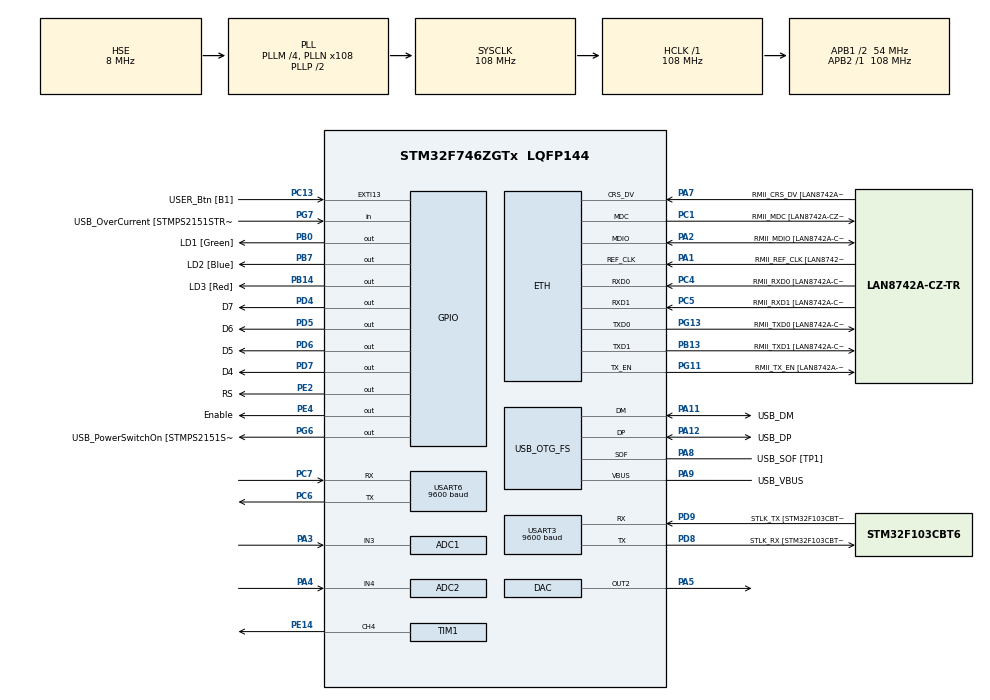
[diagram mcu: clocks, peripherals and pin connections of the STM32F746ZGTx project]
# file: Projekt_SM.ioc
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ADC1.Channel-0\#ChannelRegularConversion=ADC_CHANNEL_3
ADC1.ClockPrescaler=ADC_CLOCK_SYNC_PCLK_DIV4
ADC1.ContinuousConvMode=DISABLE
ADC1.DMAContinuousRequests=ENABLE
ADC1.ExternalTrigConv=ADC_EXTERNALTRIGCONV_T5_TRGO
ADC1.InjNumberOfConversion=0
ADC1.NbrOfConversion=1
ADC1.NbrOfConversionFlag=1
ADC1.Rank-0\#ChannelRegularConversion=1
ADC1.SamplingTime-0\#ChannelRegularConversion=ADC_SAMPLETIME_480CYCLES
ADC1.ScanConvMode=ADC_SCAN_ENABLE
ADC1.master=1
ADC2.Channel-2\#ChannelRegularConversion=ADC_CHANNEL_4
ADC2.ClockPrescaler=ADC_CLOCK_SYNC_PCLK_DIV4
ADC2.ContinuousConvMode=DISABLE
ADC2.DMAContinuousRequests=ENABLE
ADC2.ExternalTrigConv=ADC_EXTERNALTRIGCONV_T6_TRGO
ADC2.NbrOfConversion=1
ADC2.NbrOfConversionFlag=1
ADC2.Rank-2\#ChannelRegularConversion=1
ADC2.SamplingTime-2\#ChannelRegularConversion=ADC_SAMPLETIME_480CYCLES
ADC2.ScanConvMode=ADC_SCAN_ENABLE
DAC.DAC_Trigger2=DAC_TRIGGER_T4_TRGO
Dma.ADC1.0.Direction=DMA_PERIPH_TO_MEMORY
Dma.ADC1.0.FIFOMode=DMA_FIFOMODE_DISABLE
Dma.ADC1.0.Instance=DMA2_Stream0
Dma.ADC1.0.MemDataAlignment=DMA_MDATAALIGN_HALFWORD
Dma.ADC1.0.MemInc=DMA_MINC_ENABLE
Dma.ADC1.0.Mode=DMA_CIRCULAR
Dma.ADC1.0.PeriphDataAlignment=DMA_PDATAALIGN_HALFWORD
Dma.ADC1.0.PeriphInc=DMA_PINC_DISABLE
Dma.ADC1.0.Priority=DMA_PRIORITY_LOW
Dma.ADC2.1.Direction=DMA_PERIPH_TO_MEMORY
Dma.ADC2.1.FIFOMode=DMA_FIFOMODE_DISABLE
Dma.ADC2.1.Instance=DMA2_Stream2
Dma.ADC2.1.MemDataAlignment=DMA_MDATAALIGN_HALFWORD
Dma.ADC2.1.MemInc=DMA_MINC_ENABLE
Dma.ADC2.1.Mode=DMA_CIRCULAR
Dma.ADC2.1.PeriphDataAlignment=DMA_PDATAALIGN_HALFWORD
Dma.ADC2.1.PeriphInc=DMA_PINC_DISABLE
Dma.ADC2.1.Priority=DMA_PRIORITY_LOW
Dma.Request0=ADC1
Dma.Request1=ADC2
ETH.MediaInterface=ETH_MEDIA_INTERFACE_RMII
ETH.PHY_Name=LAN8742A_PHY_ADDRESS
ETH.PHY_Value=0
ETH.PhyAddress=0
Mcu.Family=STM32F7
Mcu.Name=STM32F746ZGTx
Mcu.Package=LQFP144
NVIC.DMA2_Stream0_IRQn=true\:0\:0\:false\:false\:true\:false\:true
NVIC.DMA2_Stream2_IRQn=true\:0\:0\:false\:false\:true\:false\:true
NVIC.PriorityGroup=NVIC_PRIORITYGROUP_4
NVIC.TIM2_IRQn=true\:0\:0\:false\:false\:true\:true\:true
NVIC.TIM3_IRQn=true\:0\:0\:false\:false\:true\:true\:true
NVIC.TIM4_IRQn=true\:0\:0\:false\:false\:true\:true\:true
NVIC.TIM5_IRQn=true\:0\:0\:false\:false\:true\:true\:true
NVIC.TIM6_DAC_IRQn=true\:0\:0\:false\:false\:true\:true\:true
NVIC.USART3_IRQn=true\:0\:0\:false\:false\:true\:true\:true
NVIC.USART6_IRQn=true\:0\:0\:false\:false\:true\:true\:true
PA1.GPIO_Label=RMII_REF_CLK [LAN8742A-CZ-TR_REFCLK0]
PA1.Mode=RMII
PA1.Signal=ETH_REF_CLK
PA10.GPIO_Label=USB_ID
PA10.Signal=USB_OTG_FS_ID
PA11.GPIO_Label=USB_DM
PA11.Mode=Device_Only
PA11.Signal=USB_OTG_FS_DM
PA12.GPIO_Label=USB_DP
PA12.Mode=Device_Only
PA12.Signal=USB_OTG_FS_DP
PA13.GPIO_Label=TMS
PA13.Mode=Serial_Wire
PA13.Signal=SYS_JTMS-SWDIO
PA14.GPIO_Label=TCK
PA14.Mode=Serial_Wire
PA14.Signal=SYS_JTCK-SWCLK
PA2.GPIO_Label=RMII_MDIO [LAN8742A-CZ-TR_MDIO]
PA2.Mode=RMII
PA2.Signal=ETH_MDIO
PA3.Signal=ADCx_IN3
PA4.Signal=ADCx_IN4
PA5.Signal=COMP_DAC2_group
PA7.GPIO_Label=RMII_CRS_DV [LAN8742A-CZ-TR_CRS_DV]
PA7.Mode=RMII
PA7.Signal=ETH_CRS_DV
PA8.GPIO_Label=USB_SOF [TP1]
PA8.Mode=Activate_SOF_FS
PA8.Signal=USB_OTG_FS_SOF
PA9.GPIO_Label=USB_VBUS
PA9.Mode=Activate_VBUS
PA9.Signal=USB_OTG_FS_VBUS
PB0.GPIO_Label=LD1 [Green]
PB0.Signal=GPIO_Output
PB13.GPIO_Label=RMII_TXD1 [LAN8742A-CZ-TR_TXD1]
PB13.Mode=RMII
PB13.Signal=ETH_TXD1
PB14.GPIO_Label=LD3 [Red]
PB14.Signal=GPIO_Output
PB3.GPIO_Label=SW0
PB3.Signal=SYS_JTDO-SWO
PB7.GPIO_Label=LD2 [Blue]
PB7.Signal=GPIO_Output
PC1.GPIO_Label=RMII_MDC [LAN8742A-CZ-TR_MDC]
PC1.Mode=RMII
PC1.Signal=ETH_MDC
PC13.GPIO_Label=USER_Btn [B1]
PC13.Signal=GPXTI13
PC14/OSC32_IN.Mode=LSE-External-Oscillator
PC14/OSC32_IN.Signal=RCC_OSC32_IN
PC15/OSC32_OUT.Mode=LSE-External-Oscillator
PC15/OSC32_OUT.Signal=RCC_OSC32_OUT
PC4.GPIO_Label=RMII_RXD0 [LAN8742A-CZ-TR_RXD0]
PC4.Mode=RMII
PC4.Signal=ETH_RXD0
PC5.GPIO_Label=RMII_RXD1 [LAN8742A-CZ-TR_RXD1]
PC5.Mode=RMII
PC5.Signal=ETH_RXD1
PC6.Mode=Asynchronous
PC6.Signal=USART6_TX
PC7.Mode=Asynchronous
PC7.Signal=USART6_RX
PD4.GPIO_Label=D7
PD4.Signal=GPIO_Output
PD5.GPIO_Label=D6
PD5.Signal=GPIO_Output
PD6.GPIO_Label=D5
PD6.Signal=GPIO_Output
PD7.GPIO_Label=D4
PD7.Signal=GPIO_Output
PD8.GPIO_Label=STLK_RX [STM32F103CBT6_PA3]
PD8.Mode=Asynchronous
PD8.Signal=USART3_TX
PD9.GPIO_Label=STLK_TX [STM32F103CBT6_PA2]
PD9.Mode=Asynchronous
PD9.Signal=USART3_RX
PE14.Signal=S_TIM1_CH4
PE2.GPIO_Label=RS
PE2.Signal=GPIO_Output
PE4.GPIO_Label=Enable
PE4.Signal=GPIO_Output
PG11.GPIO_Label=RMII_TX_EN [LAN8742A-CZ-TR_TXEN]
PG11.Mode=RMII
PG11.Signal=ETH_TX_EN
PG13.GPIO_Label=RMII_TXD0 [LAN8742A-CZ-TR_TXD0]
PG13.Mode=RMII
PG13.Signal=ETH_TXD0
PG6.GPIO_Label=USB_PowerSwitchOn [STMPS2151STR_EN]
PG6.Signal=GPIO_Output
PG7.GPIO_Label=USB_OverCurrent [STMPS2151STR_FAULT]
PG7.Signal=GPIO_Input
PH0/OSC_IN.GPIO_Label=MCO [STM32F103CBT6_PA8]
PH0/OSC_IN.Mode=HSE-External-Clock-Source
PH0/OSC_IN.Signal=RCC_OSC_IN
PH1/OSC_OUT.Mode=HSE-External-Clock-Source
PH1/OSC_OUT.Signal=RCC_OSC_OUT
ProjectManager.HeapSize=0x200
ProjectManager.StackSize=0x400
ProjectManager.TargetToolchain=STM32CubeIDE
RCC.48MHZClocksFreq_Value=24000000
RCC.AHBFreq_Value=108000000
RCC.APB1CLKDivider=RCC_HCLK_DIV2
RCC.APB1Freq_Value=54000000
RCC.APB1TimFreq_Value=108000000
RCC.APB2Freq_Value=108000000
RCC.APB2TimFreq_Value=108000000
RCC.CortexFreq_Value=108000000
RCC.HCLKFreq_Value=108000000
RCC.HSE_VALUE=8000000
RCC.HSI_VALUE=16000000
RCC.PLL48CLockSelection=RCC_CLK48SOURCE_PLLSAIP
RCC.PLLM=4
RCC.PLLMUL=RCC_PLL_MUL9
RCC.PLLN=108
RCC.PLLQ=3
RCC.PLLSAIN=96
RCC.PLLSAIP=RCC_PLLSAIP_DIV4
RCC.PRESCALERUSB=RCC_USBCLKSOURCE_PLL_DIV1_5
RCC.SYSCLKFreq_VALUE=108000000
RCC.SYSCLKSource=RCC_SYSCLKSOURCE_PLLCLK
RCC.SYSCLKSourceVirtual=RCC_SYSCLKSOURCE_PLLCLK
RCC.USBFreq_Value=48000000
RCC.VCOOutputFreq_Value=216000000
SH.ADCx_IN3.0=ADC1_IN3,IN3
SH.ADCx_IN4.0=ADC2_IN4,IN4
SH.COMP_DAC2_group.0=DAC_OUT2,DAC_OUT2
SH.S_TIM1_CH4.0=TIM1_CH4,PWM Generation4 CH4
TIM1.Channel-PWM\ Generation4\ CH4=TIM_CHANNEL_4
TIM1.Period=19999
TIM1.Prescaler=107
TIM1.Pulse-PWM\ Generation4\ CH4=1000
TIM2.Period=4999
TIM2.Prescaler=10799
TIM2.TIM_MasterOutputTrigger=TIM_TRGO_UPDATE
TIM3.Period=999
TIM3.Prescaler=10799
TIM4.Period=19
TIM4.Prescaler=107
TIM4.TIM_MasterOutputTrigger=TIM_TRGO_UPDATE
TIM5.Period=999
TIM5.Prescaler=10799
TIM5.TIM_MasterOutputTrigger=TIM_TRGO_UPDATE
TIM6.Period=99
TIM6.Prescaler=107
TIM6.TIM_MasterOutputTrigger=TIM_TRGO_UPDATE
USART3.BaudRate=9600
USART3.VirtualMode-Asynchronous=VM_ASYNC
USART6.BaudRate=9600
USART6.VirtualMode-Asynchronous=VM_ASYNC
USB_OTG_FS.VirtualMode=Device_Only
VP_TIM1_VS_ClockSourceINT.Mode=Internal
VP_TIM2_VS_ClockSourceINT.Mode=Internal
VP_TIM3_VS_ClockSourceINT.Mode=Internal
VP_TIM4_VS_ClockSourceINT.Mode=Internal
VP_TIM5_VS_ClockSourceINT.Mode=Internal
VP_TIM6_VS_ClockSourceINT.Mode=Enable_Timer
board=NUCLEO-F746ZG

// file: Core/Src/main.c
/* USER CODE BEGIN Header */
/**
  ******************************************************************************
  * @file           : main.c
  * @brief          : Main program body
  ******************************************************************************
  * @attention
  *
  * <h2><center>&copy; Copyright (c) 2020 STMicroelectronics.
  * All rights reserved.</center></h2>
  *
  * This software component is licensed by ST under BSD 3-Clause license,
  * the "License"; You may not use this file except in compliance with the
  * License. You may obtain a copy of the License at:
  *                        opensource.org/licenses/BSD-3-Clause
  *
  ******************************************************************************
  */
/* USER CODE END Header */

#include "main.h"
#include "adc.h"
#include "dac.h"
#include "dma.h"
#include "eth.h"
#include "tim.h"
#include "usart.h"
#include "usb_otg.h"
#include "gpio.h"

/* USER CODE BEGIN Includes */
#include "lcd.h"
#include "servo.h"
#include "math.h"
#include "arm_math.h"
/* USER CODE END Includes */

/* USER CODE BEGIN PV */

//Sinus voltage amplitude and its 100 samples
double A = 1.0;
uint16_t sine[] = {
#include "sinus.txt"
};
int i = 0;

//Potentiometer
uint32_t pot_value = 0;
uint32_t pot_read_from_DMA = 0;
uint32_t last_changed_pot = 0;

//Sensor
uint32_t sensor_RMS = 0;
const int BUFFER_SIZE = 1000;
uint32_t sensor_values_buffer[1000];
int current_sample = 0;
uint32_t sensor_read_from_DMA = 0;
int calculateRMS = 0;

//Variable used to handle lcd and servo with callback periods
int ifDisplay = 0;

//Initialize the lcd display
Lcd_PortType ports[] = {
	D4_GPIO_Port, D5_GPIO_Port, D6_GPIO_Port, D7_GPIO_Port
};
Lcd_PinType pins[] = {D4_Pin, D5_Pin, D6_Pin, D7_Pin};
//Handler for lcd
Lcd_HandleTypeDef my_lcd;

//Variables for the servo
int angle = 0;
int angle_correction = 0;
servo_t servo1;

//Variables for UART
#define MESSAGE_MAX_SIZE 3
char receivedMessage[MESSAGE_MAX_SIZE] = {0};
int ifUART = 0;
HAL_StatusTypeDef UART_status;
int setpoint_read_from_UART = 0;
#define T_MESSAGE_MAX_SIZE 10
uint8_t messageToSend[T_MESSAGE_MAX_SIZE] = {0};
int ifTransmitUART = 0;

//PID parameters
#define PID_PARAM_KP        0.1          /* Proporcional */
#define PID_PARAM_KI        0            /* Integral */
#define PID_PARAM_KD        0.005         /* Derivative */

//Setpoint
uint32_t sensor_setpoint = 0;

//Flag to calculate PID
int ifPID = 0;

/* USER CODE END PV */

void SystemClock_Config(void);
/* USER CODE BEGIN PFP */

//Display values function
void Display_Values(Lcd_HandleTypeDef * lcd)
{
	  Lcd_cursor(lcd, 0, 0);
	  Lcd_string(lcd, "                ");
	  Lcd_cursor(lcd, 0, 0);
	  Lcd_string(lcd, "Current: ");
	  Lcd_int(lcd, sensor_RMS);
	  Lcd_cursor(lcd, 1, 0);
	  Lcd_string(lcd, "                ");
	  Lcd_cursor(lcd, 1, 0);
	  Lcd_string(lcd, "Setpoint: ");
	  Lcd_int(lcd, sensor_setpoint);
}

//Scale samples values to set amplitude
void Set_Sinus_Values()
{
	for(int j = 0; j < 100; j++) {
		sine[j] = (float)sine[j] * A * 2.0 / 3.3;
	}
}

void HAL_TIM_PeriodElapsedCallback(TIM_HandleTypeDef *htim){
	if(htim->Instance == TIM2) { //If interrupt comes from timer 2
		ifDisplay = 1;
		ifTransmitUART = 1;
	}
	if(htim->Instance == TIM3) { //If interrupt comes from timer 3
		ifPID=1;
	}
	if(htim->Instance == TIM4){ //If interrupt comes from timer 4
		//HAL_GPIO_WritePin(_GPIO_Port, _Pin, GPIO_PIN_SET);
		i += 1;
		if (i >= 50) {
			i = 0;
		}
		HAL_DAC_SetValue(&hdac, DAC_CHANNEL_2, DAC_ALIGN_12B_R, sine[2*i]);
		//HAL_GPIO_WritePin(_GPIO_Port, _Pin, GPIO_PIN_RESET);
	}
	if(htim->Instance == TIM5){ //If interrupt comes from timer 5
		pot_value = pot_read_from_DMA;
		if (pot_value > last_changed_pot + 100 || pot_value < last_changed_pot - 100) {
			sensor_setpoint = pot_value * 240 / 4095 + 110;
			last_changed_pot = pot_value;
		}
	}
	if(htim->Instance == TIM6){ //If interrupt comes from timer 6
		if(current_sample < BUFFER_SIZE) {
			//Write sample to the buffer with offset cutting
			sensor_values_buffer[current_sample] = sensor_read_from_DMA;
			current_sample++;
		}
		else {
			calculateRMS = 1;
		}
	}
}

void HAL_UART_RxCpltCallback(UART_HandleTypeDef *huart)
{
	//Listening again
	UART_status = HAL_UART_Receive_IT(&huart6, (uint8_t*)receivedMessage, 3);

	sscanf((char*)receivedMessage, "%d", &setpoint_read_from_UART);
	receivedMessage[0] = '\0';

	if (setpoint_read_from_UART >= 100 && setpoint_read_from_UART <= 350) {
		sensor_setpoint = setpoint_read_from_UART;
	}
}

/* USER CODE END PFP */

int main(void)
{

  /* MCU Configuration--------------------------------------------------------*/

  /* Reset of all peripherals, Initializes the Flash interface and the Systick. */
  HAL_Init();

  /* Configure the system clock */
  SystemClock_Config();

  /* Initialize all configured peripherals */
  MX_GPIO_Init();
  MX_ETH_Init();
  MX_USART3_UART_Init();
  MX_USB_OTG_FS_PCD_Init();
  MX_DMA_Init();
  MX_ADC1_Init();
  MX_TIM1_Init();
  MX_TIM2_Init();
  MX_TIM3_Init();
  MX_TIM4_Init();
  MX_DAC_Init();
  MX_ADC2_Init();
  MX_TIM5_Init();
  MX_USART6_UART_Init();
  MX_TIM6_Init();
  /* USER CODE BEGIN 2 */

  //Start tim2 to write data from joystick to the lcd display
  HAL_TIM_Base_Start_IT(&htim2);
  HAL_TIM_Base_Start_IT(&htim3);

  //Create lcd
  my_lcd = Lcd_create(ports, pins, RS_GPIO_Port, RS_Pin, Enable_GPIO_Port, Enable_Pin, LCD_4_BIT_MODE);

  //Initialize micro servo sg90
  Servo_Init(&servo1, &htim1, TIM_CHANNEL_4);

  //Sinus
  Set_Sinus_Values();
  HAL_DAC_Start(&hdac, DAC_CHANNEL_2);
  HAL_TIM_Base_Start_IT(&htim4);

  //Interrupts for DMA adc1 (potentiometer)
  HAL_TIM_Base_Start_IT(&htim5);

  //Interrupts for DMA adc2 (sensor)
  HAL_TIM_Base_Start_IT(&htim6);

  //Start ADC conversion from the potentiometer and sensor
  HAL_ADC_Start_DMA(&hadc1, &pot_read_from_DMA, 1);
  HAL_ADC_Start_DMA(&hadc2, &sensor_read_from_DMA, 1);

  //UART listening
  UART_status = HAL_UART_Receive_IT(&huart6, (uint8_t*)receivedMessage, 3);

  //PID error
  int pid_error;

  /* ARM PID Instance */
  arm_pid_instance_f32 PID;

  /* Set PID parameters */
  /* Set this for your needs */
  PID.Kp = PID_PARAM_KP;        /* Proporcional */
  PID.Ki = PID_PARAM_KI;        /* Integral */
  PID.Kd = PID_PARAM_KD;        /* Derivative */

  /* Initialize PID system */
  arm_pid_init_f32(&PID, 1);

  /* USER CODE END 2 */

  /* Infinite loop */
  /* USER CODE BEGIN WHILE */
  while (1)
  {
	  if(ifDisplay == 1) {
		  Display_Values(&my_lcd);
		  ifDisplay = 0;
	  }

	  if(calculateRMS) {
			int squares_sum = 0;
			for (int i = 0; i < BUFFER_SIZE; i++) {
				squares_sum += pow(sensor_values_buffer[i], 2);
			}
			sensor_RMS = sqrt(squares_sum / 1000.0);
			current_sample = 0;
			calculateRMS = 0;
	  }

	  if(ifTransmitUART)
	  {
		  sprintf(messageToSend, "%d %d \n", sensor_RMS, sensor_setpoint);
		  HAL_UART_Transmit_IT(&huart6, messageToSend, strlen(messageToSend));
	  }

	  if(ifPID)
	  {
		  //PID control
		  /* Calculate error */
		  pid_error = sensor_setpoint - sensor_RMS;

		  /* Calculate PID here, argument is error */
		 angle_correction = arm_pid_f32(&PID, pid_error);
		 /*
		 if(angle_correction < -5) {
			 angle_correction = -5;
		 }
		 */
		 angle = angle + angle_correction;

		  if (angle < 5) {
			  angle = 5;
		  }
		  else if (angle > 175) {
			  angle = 175;
		  }

		  Servo_SetAngle(&servo1, angle);
		  ifPID = 0;
	  }

    /* USER CODE END WHILE */

  }
}

void SystemClock_Config(void)
{
  RCC_OscInitTypeDef RCC_OscInitStruct = {0};
  RCC_ClkInitTypeDef RCC_ClkInitStruct = {0};
  RCC_PeriphCLKInitTypeDef PeriphClkInitStruct = {0};

  /** Configure LSE Drive Capability
  */
  HAL_PWR_EnableBkUpAccess();
  /** Configure the main internal regulator output voltage
  */
  __HAL_RCC_PWR_CLK_ENABLE();
  __HAL_PWR_VOLTAGESCALING_CONFIG(PWR_REGULATOR_VOLTAGE_SCALE3);
  /** Initializes the CPU, AHB and APB busses clocks
  */
  RCC_OscInitStruct.OscillatorType = RCC_OSCILLATORTYPE_HSE;
  RCC_OscInitStruct.HSEState = RCC_HSE_BYPASS;
  RCC_OscInitStruct.PLL.PLLState = RCC_PLL_ON;
  RCC_OscInitStruct.PLL.PLLSource = RCC_PLLSOURCE_HSE;
  RCC_OscInitStruct.PLL.PLLM = 4;
  RCC_OscInitStruct.PLL.PLLN = 108;
  RCC_OscInitStruct.PLL.PLLP = RCC_PLLP_DIV2;
  RCC_OscInitStruct.PLL.PLLQ = 3;
  if (HAL_RCC_OscConfig(&RCC_OscInitStruct) != HAL_OK)
  {
    Error_Handler();
  }
  /** Activate the Over-Drive mode
  */
  if (HAL_PWREx_EnableOverDrive() != HAL_OK)
  {
    Error_Handler();
  }
  /** Initializes the CPU, AHB and APB busses clocks
  */
  RCC_ClkInitStruct.ClockType = RCC_CLOCKTYPE_HCLK|RCC_CLOCKTYPE_SYSCLK
                              |RCC_CLOCKTYPE_PCLK1|RCC_CLOCKTYPE_PCLK2;
  RCC_ClkInitStruct.SYSCLKSource = RCC_SYSCLKSOURCE_PLLCLK;
  RCC_ClkInitStruct.AHBCLKDivider = RCC_SYSCLK_DIV1;
  RCC_ClkInitStruct.APB1CLKDivider = RCC_HCLK_DIV2;
  RCC_ClkInitStruct.APB2CLKDivider = RCC_HCLK_DIV1;

  if (HAL_RCC_ClockConfig(&RCC_ClkInitStruct, FLASH_LATENCY_3) != HAL_OK)
  {
    Error_Handler();
  }
  PeriphClkInitStruct.PeriphClockSelection = RCC_PERIPHCLK_USART3|RCC_PERIPHCLK_USART6
                              |RCC_PERIPHCLK_CLK48;
  PeriphClkInitStruct.PLLSAI.PLLSAIN = 96;
  PeriphClkInitStruct.PLLSAI.PLLSAIR = 2;
  PeriphClkInitStruct.PLLSAI.PLLSAIQ = 2;
  PeriphClkInitStruct.PLLSAI.PLLSAIP = RCC_PLLSAIP_DIV4;
  PeriphClkInitStruct.PLLSAIDivQ = 1;
  PeriphClkInitStruct.PLLSAIDivR = RCC_PLLSAIDIVR_2;
  PeriphClkInitStruct.Usart3ClockSelection = RCC_USART3CLKSOURCE_PCLK1;
  PeriphClkInitStruct.Usart6ClockSelection = RCC_USART6CLKSOURCE_PCLK2;
  PeriphClkInitStruct.Clk48ClockSelection = RCC_CLK48SOURCE_PLLSAIP;
  if (HAL_RCCEx_PeriphCLKConfig(&PeriphClkInitStruct) != HAL_OK)
  {
    Error_Handler();
  }
}

void Error_Handler(void)
{
}

/************************ (C) COPYRIGHT STMicroelectronics *****END OF FILE****/
